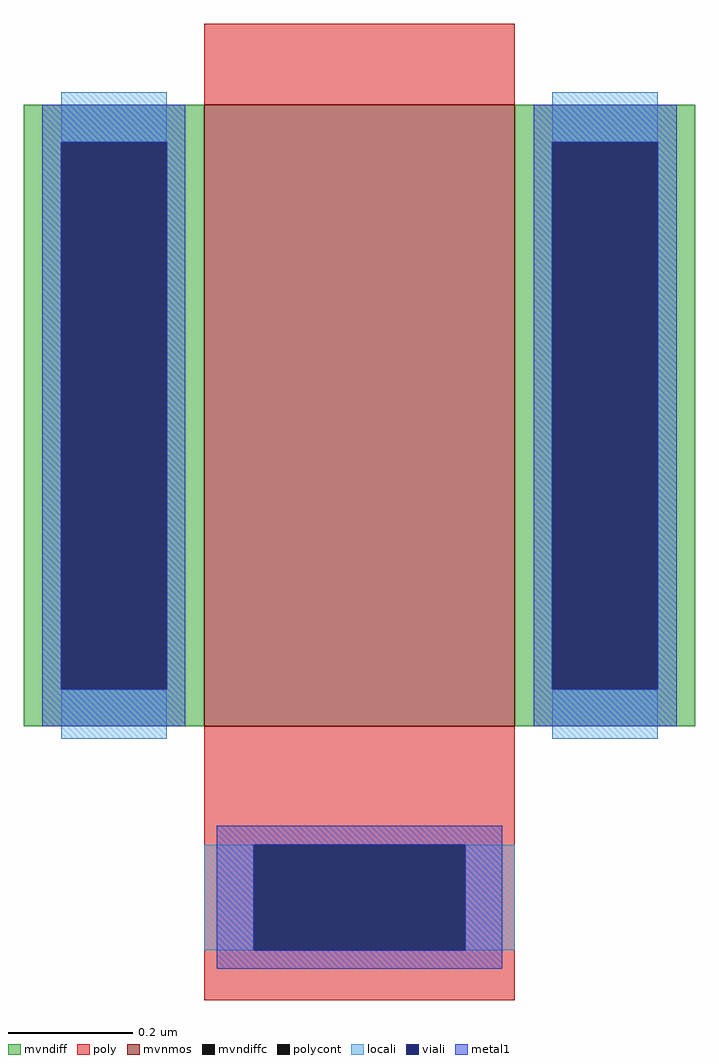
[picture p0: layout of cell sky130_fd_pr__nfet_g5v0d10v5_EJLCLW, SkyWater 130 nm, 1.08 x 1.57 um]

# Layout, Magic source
magic
tech sky130A
magscale 1 2
<< mvnmos >>
rect -50 -69 50 131
<< mvndiff >>
rect -108 119 -50 131
rect -108 -57 -96 119
rect -62 -57 -50 119
rect -108 -69 -50 -57
rect 50 119 108 131
rect 50 -57 62 119
rect 96 -57 108 119
rect 50 -69 108 -57
<< mvndiffc >>
rect -96 -57 -62 119
rect 62 -57 96 119
<< poly >>
rect -50 131 50 157
rect -50 -107 50 -69
rect -50 -141 -34 -107
rect 34 -141 50 -107
rect -50 -157 50 -141
<< polycont >>
rect -34 -141 34 -107
<< locali >>
rect -96 119 -62 135
rect -96 -73 -62 -57
rect 62 119 96 135
rect 62 -73 96 -57
rect -50 -141 -34 -107
rect 34 -141 50 -107
<< viali >>
rect -96 -57 -62 119
rect 62 -57 96 119
rect -34 -141 34 -107
<< metal1 >>
rect -102 119 -56 131
rect -102 -57 -96 119
rect -62 -57 -56 119
rect -102 -69 -56 -57
rect 56 119 102 131
rect 56 -57 62 119
rect 96 -57 102 119
rect 56 -69 102 -57
rect -46 -107 46 -101
rect -46 -141 -34 -107
rect 34 -141 46 -107
rect -46 -147 46 -141
<< properties >>
string gencell sky130_fd_pr__nfet_g5v0d10v5
string library sky130
string parameters w 1.0 l 0.5 m 1 nf 1 diffcov 100 polycov 100 guard 0 glc 0 grc 0 gtc 0 gbc 0 tbcov 100 rlcov 100 topc 0 botc 1 poverlap 0 doverlap 1 lmin 0.50 wmin 0.42 compatible {sky130_fd_pr__nfet_01v8 sky130_fd_pr__nfet_01v8_lvt  sky130_fd_bs_flash__special_sonosfet_star  sky130_fd_pr__nfet_g5v0d10v5 sky130_fd_pr__nfet_05v0_nvt  sky130_fd_pr__nfet_03v3_nvt} full_metal 0 viasrc 100 viadrn 100 viagate 100 viagb 0 viagr 0 viagl 0 viagt 0
<< end >>
